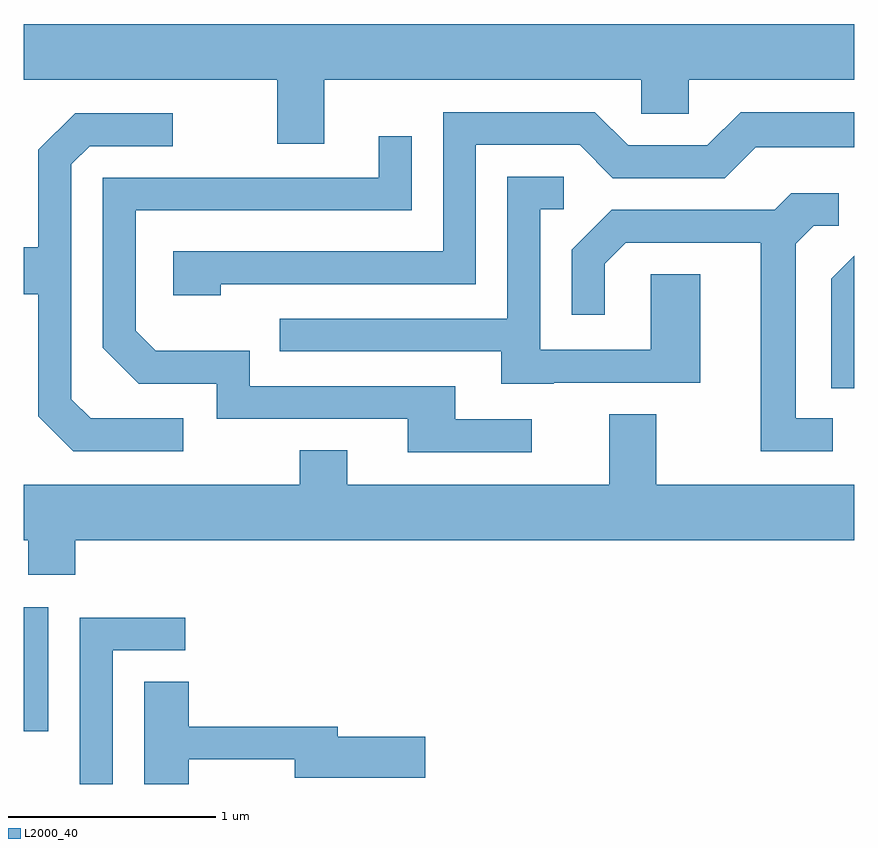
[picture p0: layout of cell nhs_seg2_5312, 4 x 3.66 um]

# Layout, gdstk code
import gdstk
lib = gdstk.Library(unit=1e-6, precision=1e-09)
def R(c, l, rs):  # rectangles x0, y0, x1, y1
    for r in rs: c.add(gdstk.rectangle(r[:2], r[2:], *l))
def P(c, l, *ps):  # polygons
    for p in ps: c.add(gdstk.Polygon(p, *l))
L2000_40 = (2000, 40)

nhs_seg2_5312 = lib.new_cell('nhs_seg2_5312')
R(nhs_seg2_5312, L2000_40, [(341.611,1054.056,341.729,1054.654)])
P(nhs_seg2_5312, L2000_40, [(343.059,1057.196),(344.586,1057.196),(344.586,1057.031),(344.814,1057.031),(344.814,1057.196),(345.611,1057.196),(345.611,1057.464),(341.611,1057.464),(341.611,1057.196),(342.831,1057.196),(342.831,1056.886),(343.059,1056.886)],
  [(342.559,1056.211),(343.789,1056.211),(343.789,1056.881),(344.289,1056.881),(344.449,1056.721),(344.987,1056.721),(345.137,1056.871),(345.611,1056.871),(345.611,1057.039),(345.064,1057.039),(344.904,1056.879),(344.522,1056.879),(344.362,1057.039),(343.631,1057.039),(343.631,1056.369),(342.331,1056.369),(342.331,1056.156),(342.559,1056.156)],
  [(342.378,1055.564),(341.932,1055.564),(341.839,1055.657),(341.839,1056.789),(341.927,1056.876),(342.328,1056.876),(342.328,1057.034),(341.859,1057.034),(341.681,1056.857),(341.681,1056.389),(341.611,1056.389),(341.611,1056.161),(341.681,1056.161),(341.681,1055.574),(341.849,1055.406),(342.378,1055.406)],
  [(344.058,1055.559),(343.689,1055.559),(343.689,1055.719),(342.699,1055.719),(342.699,1055.889),(342.247,1055.889),(342.149,1055.987),(342.149,1056.566),(343.479,1056.566),(343.479,1056.923),(343.321,1056.923),(343.321,1056.724),(341.991,1056.724),(341.991,1055.904),(342.164,1055.731),(342.541,1055.731),(342.541,1055.561),(343.461,1055.561),(343.461,1055.401),(344.058,1055.401)],
  [(344.165,1055.736),(344.869,1055.736),(344.869,1056.259),(344.631,1056.259),(344.631,1055.894),(344.099,1055.894),(344.099,1056.571),(344.213,1056.571),(344.213,1056.729),(343.941,1056.729),(343.941,1056.044),(342.843,1056.044),(342.843,1055.886),(343.911,1055.886),(343.911,1055.731),(344.165,1055.731)],
  [(345.508,1055.564),(345.329,1055.564),(345.329,1056.404),(345.417,1056.491),(345.538,1056.491),(345.538,1056.649),(345.309,1056.649),(345.229,1056.569),(344.444,1056.569),(344.251,1056.377),(344.251,1056.063),(344.409,1056.063),(344.409,1056.309),(344.512,1056.411),(345.161,1056.411),(345.161,1055.406),(345.508,1055.406)],
  [(345.611,1056.347),(345.501,1056.237),(345.501,1055.708),(345.611,1055.708)],
  [(341.859,1054.976),(345.611,1054.976),(345.611,1055.244),(344.659,1055.244),(344.659,1055.584),(344.431,1055.584),(344.431,1055.244),(343.169,1055.244),(343.169,1055.409),(342.941,1055.409),(342.941,1055.244),(341.611,1055.244),(341.611,1054.976),(341.631,1054.976),(341.631,1054.811),(341.859,1054.811)],
  [(342.039,1054.446),(342.388,1054.446),(342.388,1054.604),(341.881,1054.604),(341.881,1053.802),(342.039,1053.802)],
  [(342.404,1053.921),(342.916,1053.921),(342.916,1053.831),(343.544,1053.831),(343.544,1054.029),(343.124,1054.029),(343.124,1054.079),(342.404,1054.079),(342.404,1054.294),(342.191,1054.294),(342.191,1053.802),(342.404,1053.802)])

lib.write_gds('nhs_seg2_5312.gds')
